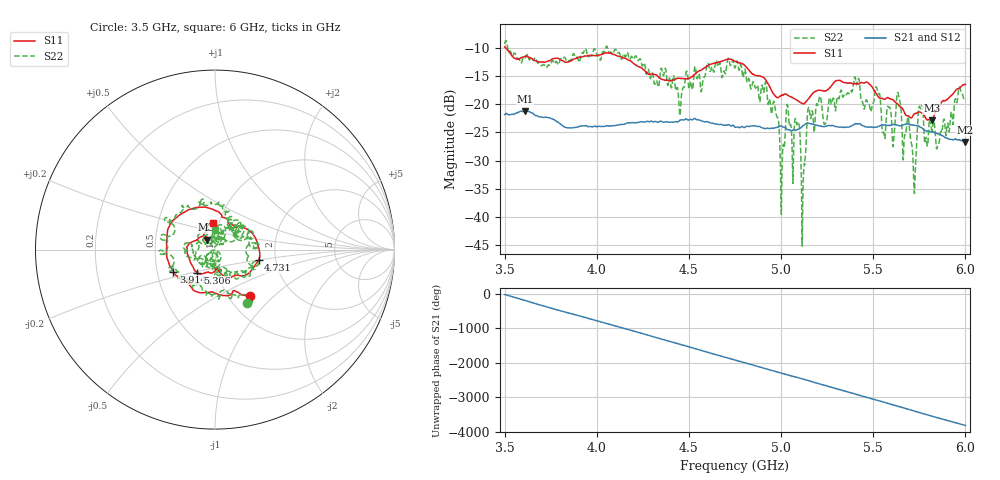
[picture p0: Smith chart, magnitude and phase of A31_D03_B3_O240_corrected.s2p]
! Created with skrf 1.9.0 (http://scikit-rf.org).
# Hz S RI R 50.0
!freq ReS11 ImS11 ReS21 ImS21 ReS12 ImS12 ReS22 ImS22
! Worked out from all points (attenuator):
!   1601 points, 3.5 GHz to 6 GHz, reference 50 ohm
!   highest |S21| = -21.20 dB at 3.611 GHz (marker M1); lowest = -26.7 dB at 5.997 GHz (marker M2)
!   lowest |S11| = -22.8 dB at 5.817 GHz (marker M3), VSWR 1.16, Z = 45.2 + j4.96 ohm
!   |S11| at or under -10 dB: 3.507 GHz to end of sweep
!   |S22| runs from -45.2 to -8.7 dB; largest |S21 - S12| = 0.001
!   S11 on the Smith chart (normalised r, x): 3.5 GHz: 1.25, -0.72; 3.914 GHz: 0.61, -0.16; 4.731 GHz: 1.63, -0.20; 5.306 GHz: 0.80, -0.21; 6 GHz: 0.94, +0.29
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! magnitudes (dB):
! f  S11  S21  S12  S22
! 3.5 GHz  -9.8  -21.8  -21.8  -9.3
! 3.611 GHz  -11.5  -21.2  -21.2  -11.8
! 3.914 GHz  -11.6  -23.9  -23.8  -11.3
! 3.917 GHz  -11.6  -23.9  -23.9  -10.9
! 4.334 GHz  -15.2  -23.2  -23.1  -16.9
! 4.731 GHz  -12.0  -23.9  -23.8  -12.9
! 4.75 GHz  -12.4  -24.1  -24.0  -13.6
! 4.967 GHz  -18.5  -24.2  -24.1  -20.6
! 5.006 GHz  -18.4  -23.9  -23.9  -29.9
! 5.034 GHz  -18.3  -24.5  -24.4  -20.1
! 5.088 GHz  -19.3  -24.5  -24.5  -23.5
! 5.12 GHz  -19.9  -23.8  -23.7  -33.6
! 5.145 GHz  -19.2  -23.3  -23.3  -21.0
! 5.167 GHz  -18.2  -23.5  -23.4  -21.3
! 5.306 GHz  -15.8  -24.0  -24.0  -18.7
! 5.584 GHz  -18.9  -23.7  -23.7  -20.5
! 5.639 GHz  -20.2  -23.8  -23.8  -18.6
! 5.722 GHz  -21.7  -23.7  -23.7  -35.4
! 5.755 GHz  -21.4  -24.1  -24.0  -20.7
! 5.817 GHz  -22.8  -24.9  -24.9  -24.6
! 5.997 GHz  -16.5  -26.7  -26.6  -19.3
! 6 GHz  -16.5  -26.7  -26.6  -19.2
